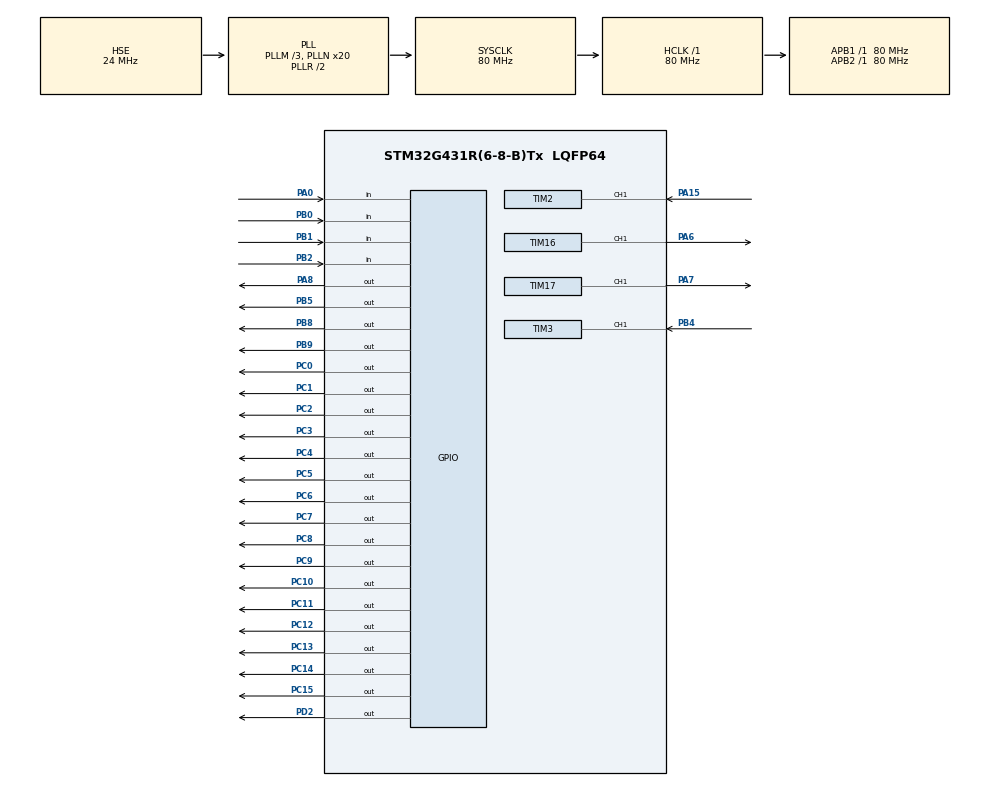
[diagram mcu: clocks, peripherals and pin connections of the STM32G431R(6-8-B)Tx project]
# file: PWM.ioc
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Mcu.Family=STM32G4
Mcu.Name=STM32G431R(6-8-B)Tx
Mcu.Package=LQFP64
NVIC.PriorityGroup=NVIC_PRIORITYGROUP_4
NVIC.TIM2_IRQn=true\:0\:0\:false\:false\:true\:true\:true\:true
NVIC.TIM3_IRQn=true\:0\:0\:false\:false\:true\:true\:true\:true
NVIC.TIM4_IRQn=true\:0\:0\:false\:false\:true\:true\:true\:true
PA0.GPIO_PuPd=GPIO_PULLUP
PA0.Signal=GPIO_Input
PA13.Mode=Serial_Wire
PA13.Signal=SYS_JTMS-SWDIO
PA14.Mode=Serial_Wire
PA14.Signal=SYS_JTCK-SWCLK
PA15.Signal=S_TIM2_CH1
PA6.Signal=S_TIM16_CH1
PA7.Signal=S_TIM17_CH1
PA8.Signal=GPIO_Output
PB0.GPIO_PuPd=GPIO_PULLUP
PB0.Signal=GPIO_Input
PB1.GPIO_PuPd=GPIO_PULLUP
PB1.Signal=GPIO_Input
PB2.GPIO_PuPd=GPIO_PULLUP
PB2.Signal=GPIO_Input
PB4.Signal=S_TIM3_CH1
PB5.Signal=GPIO_Output
PB8-BOOT0.Signal=GPIO_Output
PB9.Signal=GPIO_Output
PC0.Signal=GPIO_Output
PC1.Signal=GPIO_Output
PC10.PinState=GPIO_PIN_SET
PC10.Signal=GPIO_Output
PC11.PinState=GPIO_PIN_SET
PC11.Signal=GPIO_Output
PC12.PinState=GPIO_PIN_SET
PC12.Signal=GPIO_Output
PC13.PinState=GPIO_PIN_SET
PC13.Signal=GPIO_Output
PC14-OSC32_IN.PinState=GPIO_PIN_SET
PC14-OSC32_IN.Signal=GPIO_Output
PC15-OSC32_OUT.PinState=GPIO_PIN_SET
PC15-OSC32_OUT.Signal=GPIO_Output
PC2.Signal=GPIO_Output
PC3.Signal=GPIO_Output
PC4.Signal=GPIO_Output
PC5.Signal=GPIO_Output
PC6.Signal=GPIO_Output
PC7.Signal=GPIO_Output
PC8.PinState=GPIO_PIN_SET
PC8.Signal=GPIO_Output
PC9.PinState=GPIO_PIN_SET
PC9.Signal=GPIO_Output
PD2.Signal=GPIO_Output
PF0-OSC_IN.Mode=HSE-External-Oscillator
PF0-OSC_IN.Signal=RCC_OSC_IN
PF1-OSC_OUT.Mode=HSE-External-Oscillator
PF1-OSC_OUT.Signal=RCC_OSC_OUT
ProjectManager.HeapSize=0x200
ProjectManager.StackSize=0x400
ProjectManager.TargetToolchain=MDK-ARM V5.32
RCC.ADC12Freq_Value=80000000
RCC.AHBFreq_Value=80000000
RCC.APB1Freq_Value=80000000
RCC.APB1TimFreq_Value=80000000
RCC.APB2Freq_Value=80000000
RCC.APB2TimFreq_Value=80000000
RCC.CortexFreq_Value=80000000
RCC.EXTERNAL_CLOCK_VALUE=12288000
RCC.HCLKFreq_Value=80000000
RCC.HSE_VALUE=24000000
RCC.HSI48_VALUE=48000000
RCC.HSI_VALUE=16000000
RCC.LSE_VALUE=32768
RCC.PLLM=RCC_PLLM_DIV3
RCC.PLLN=20
RCC.PLLSourceVirtual=RCC_PLLSOURCE_HSE
RCC.SYSCLKFreq_VALUE=80000000
RCC.SYSCLKSource=RCC_SYSCLKSOURCE_PLLCLK
RCC.USBFreq_Value=80000000
RCC.VCOOutputFreq_Value=160000000
SH.S_TIM16_CH1.0=TIM16_CH1,PWM Generation1 CH1
SH.S_TIM17_CH1.0=TIM17_CH1,PWM Generation1 CH1
SH.S_TIM2_CH1.0=TIM2_CH1,Input_Capture1_from_TI1
SH.S_TIM3_CH1.0=TIM3_CH1,Input_Capture1_from_TI1
TIM16.Channel=TIM_CHANNEL_1
TIM16.PeriodNoDither=100-1
TIM16.Prescaler=8000-1
TIM16.PulseNoDither_1=20
TIM17.Channel=TIM_CHANNEL_1
TIM17.PeriodNoDither=100-1
TIM17.Prescaler=4000-1
TIM17.PulseNoDither_1=20
TIM2.Channel-Input_Capture1_from_TI1=TIM_CHANNEL_1
TIM2.Prescaler=80-1
TIM3.Channel-Input_Capture1_from_TI1=TIM_CHANNEL_1
TIM3.Prescaler=80-1
TIM4.PeriodNoDither=10000-1
TIM4.Prescaler=800-1
VP_SYS_VS_DBSignals.Mode=DisableDeadBatterySignals
VP_TIM16_VS_ClockSourceINT.Mode=Enable_Timer
VP_TIM17_VS_ClockSourceINT.Mode=Enable_Timer
VP_TIM4_VS_ClockSourceINT.Mode=Internal
board=custom

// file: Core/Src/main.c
/* USER CODE BEGIN Header */
/**
  ******************************************************************************
  * @file           : main.c
  * @brief          : Main program body
  ******************************************************************************
  * @attention
  *
  * Copyright (c) 2023 STMicroelectronics.
  * All rights reserved.
  *
  * This software is licensed under terms that can be found in the LICENSE file
  * in the root directory of this software component.
  * If no LICENSE file comes with this software, it is provided AS-IS.
  *
  ******************************************************************************
  */
/* USER CODE END Header */
#include "main.h"
#include "tim.h"
#include "gpio.h"

/* USER CODE BEGIN Includes */
#include "led.h"
#include "lcd.h"
#include "stdio.h"
#include "interrupt.h"
/* USER CODE END Includes */

/* USER CODE BEGIN PTD */
extern struct keys key[];//在main函数引用interrupt.c文件里的struct keys key变量
extern uint frq1,frq2;

uchar view=0;//默认在第一个界面

uchar pa6_duty=10;//PA6的占空比
uchar pa7_duty=10;

void key_proc(void);
void disp_proc(void);
/* USER CODE END PTD */

void SystemClock_Config(void);

int main(void)
{

  /* MCU Configuration--------------------------------------------------------*/

  /* Reset of all peripherals, Initializes the Flash interface and the Systick. */
  HAL_Init();

  /* Configure the system clock */
  SystemClock_Config();

  /* Initialize all configured peripherals */
  MX_GPIO_Init();
  MX_TIM3_Init();
  MX_TIM16_Init();
  MX_TIM17_Init();
  MX_TIM2_Init();
  MX_TIM4_Init();
  /* USER CODE BEGIN 2 */
    LED_Disp(0x00);//LED的初始化，即让所有led灭
    LCD_Init();//LCD屏的初始化

	LCD_Clear(Black);//把屏幕清空，清成黑色
	LCD_SetBackColor(Black);//设置背景色
	LCD_SetTextColor(White);//设置文本颜色(前景色)

	HAL_TIM_Base_Start_IT(&htim4);//开启定时器3的中断

    //PA6输出频率固定为100HZ，占空比可调节的脉冲信号
    //PA7输出频率固定为200HZ，占空比可调节的脉冲信号
    //打开PWM输出
    HAL_TIM_PWM_Start(&htim16,TIM_CHANNEL_1);//第一个参数为哪个定时器，第二个参数为通道几
    HAL_TIM_PWM_Start(&htim17,TIM_CHANNEL_1);//第一个参数为哪个定时器，第二个参数为通道几
    HAL_TIM_IC_Start_IT(&htim2,TIM_CHANNEL_1);//打开定时器2通道1
    HAL_TIM_IC_Start_IT(&htim3,TIM_CHANNEL_1);//打开定时器3通道1

  /* USER CODE END 2 */

  /* Infinite loop */
  while (1)
  {

    /* USER CODE BEGIN 3 */
      LED_Disp(0x01);
      HAL_Delay(500);//延时500ms
      LED_Disp(0x00);
      HAL_Delay(500);//延时500ms

      key_proc();
      disp_proc();

  }
  /* USER CODE END 3 */
}

void SystemClock_Config(void)
{
  RCC_OscInitTypeDef RCC_OscInitStruct = {0};
  RCC_ClkInitTypeDef RCC_ClkInitStruct = {0};

  /** Configure the main internal regulator output voltage
  */
  HAL_PWREx_ControlVoltageScaling(PWR_REGULATOR_VOLTAGE_SCALE1);

  /** Initializes the RCC Oscillators according to the specified parameters
  * in the RCC_OscInitTypeDef structure.
  */
  RCC_OscInitStruct.OscillatorType = RCC_OSCILLATORTYPE_HSE;
  RCC_OscInitStruct.HSEState = RCC_HSE_ON;
  RCC_OscInitStruct.PLL.PLLState = RCC_PLL_ON;
  RCC_OscInitStruct.PLL.PLLSource = RCC_PLLSOURCE_HSE;
  RCC_OscInitStruct.PLL.PLLM = RCC_PLLM_DIV3;
  RCC_OscInitStruct.PLL.PLLN = 20;
  RCC_OscInitStruct.PLL.PLLP = RCC_PLLP_DIV2;
  RCC_OscInitStruct.PLL.PLLQ = RCC_PLLQ_DIV2;
  RCC_OscInitStruct.PLL.PLLR = RCC_PLLR_DIV2;
  if (HAL_RCC_OscConfig(&RCC_OscInitStruct) != HAL_OK)
  {
    Error_Handler();
  }

  /** Initializes the CPU, AHB and APB buses clocks
  */
  RCC_ClkInitStruct.ClockType = RCC_CLOCKTYPE_HCLK|RCC_CLOCKTYPE_SYSCLK
                              |RCC_CLOCKTYPE_PCLK1|RCC_CLOCKTYPE_PCLK2;
  RCC_ClkInitStruct.SYSCLKSource = RCC_SYSCLKSOURCE_PLLCLK;
  RCC_ClkInitStruct.AHBCLKDivider = RCC_SYSCLK_DIV1;
  RCC_ClkInitStruct.APB1CLKDivider = RCC_HCLK_DIV1;
  RCC_ClkInitStruct.APB2CLKDivider = RCC_HCLK_DIV1;

  if (HAL_RCC_ClockConfig(&RCC_ClkInitStruct, FLASH_LATENCY_2) != HAL_OK)
  {
    Error_Handler();
  }
}

/* USER CODE BEGIN 4 */
//按键
void key_proc(void){
      if(key[0].single_flag==1){//第一个按键被按下
          view=!view;
      LCD_Clear(Black);//切换界面时要进行清屏操作，避免上一界面残留
      key[0].single_flag=0;//将按下标志位清0，避免被重复执行
      }
      if(key[1].single_flag==1){//第一个按键被按下
      pa6_duty+=10;
      if(pa6_duty>=100)
          pa6_duty=10;
       //将设置的占空比应用到输出当中
      __HAL_TIM_SetCompare(&htim16,TIM_CHANNEL_1,pa6_duty);//第一个参数是哪个定时器，第二个参数是哪个通道，第三个参数是值
      LCD_Clear(Black);//切换界面时要进行清屏操作，避免上一界面残留
      key[1].single_flag=0;//将按下标志位清0，避免被重复执行

      }
      if(key[2].single_flag==1){//第一个按键被按下
      pa7_duty+=10;
      if(pa7_duty>=100)
          pa7_duty=10;
      __HAL_TIM_SetCompare(&htim17,TIM_CHANNEL_1,pa7_duty);//第一个参数是哪个定时器，第二个参数是哪个通道，第三个参数是值
      LCD_Clear(Black);//切换界面时要进行清屏操作，避免上一界面残留
      key[2].single_flag=0;//将按下标志位清0，避免被重复执行

      }
}

//LCD屏显示
void disp_proc(void){
    if(view==0){
      char text[30];//字符数组
      sprintf(text,"      Data       ");
      LCD_DisplayStringLine(Line1, (uint8_t *)text);//将text里面的数据打印到第九行

      sprintf(text,"      FRQ1=%d       ",frq1);
      LCD_DisplayStringLine(Line2, (uint8_t *)text);//将text里面的数据打印到第九行

      sprintf(text,"      FRQ2=%d       ",frq2);
      LCD_DisplayStringLine(Line4, (uint8_t *)text);//将text里面的数据打印到第九行

    }
    if(view==1){
      char text[30];//字符数组
      sprintf(text,"      Para       ");
      LCD_DisplayStringLine(Line1, (uint8_t *)text);//将text里面的数据打印到第九行
        sprintf(text,"    PA6:%d       ",pa6_duty);
        LCD_DisplayStringLine(Line2, (uint8_t *)text);//将text里面的数据打印到第九行
        sprintf(text,"    PA7:%d       ",pa7_duty);
        LCD_DisplayStringLine(Line4, (uint8_t *)text);//将text里面的数据打印到第九行

    }
}

/* USER CODE END 4 */

void Error_Handler(void)
{
  __disable_irq();
  while (1)
  {
  }
}
